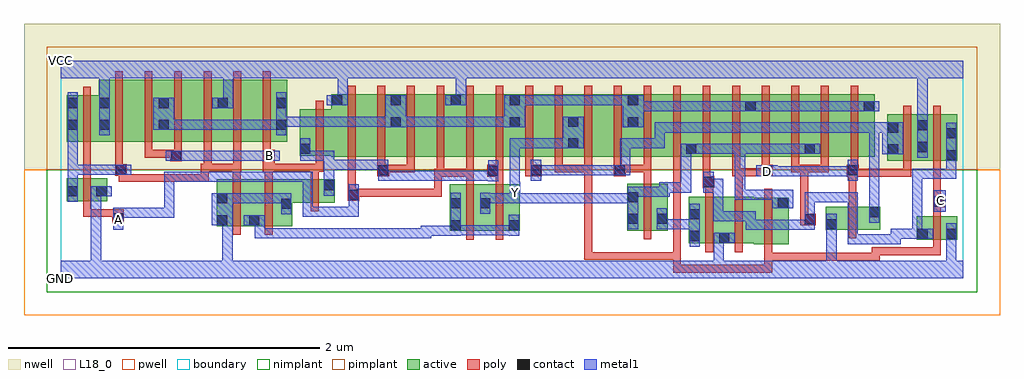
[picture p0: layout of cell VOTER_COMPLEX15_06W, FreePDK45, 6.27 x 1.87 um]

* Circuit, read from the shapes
.subckt VOTER_COMPLEX15_06W A B C D GND VCC Y
M1 GND A n1 VSUBS nfet w=0.15u l=0.05u
M2 n2 n1 GND VSUBS nfet w=0.3u l=0.05u
M3 GND B n2 VSUBS nfet w=0.3u l=0.05u
M4 n3 B GND VSUBS nfet w=0.15u l=0.05u
M5 Y A n2 VSUBS nfet w=0.3u l=0.05u
M6 n2 n3 Y VSUBS nfet w=0.3u l=0.05u
M7 n4 n5 Y VSUBS nfet w=0.3u l=0.05u
M8 GND n6 n4 VSUBS nfet w=0.3u l=0.05u
M9 n7 D GND VSUBS nfet w=0.3u l=0.05u
M10 Y C n7 VSUBS nfet w=0.3u l=0.05u
M11 n5 D GND VSUBS nfet w=0.15u l=0.05u
M12 GND C n6 VSUBS nfet w=0.15u l=0.05u
M13 VCC A n1 n8 pfet w=0.3u l=0.05u
M14 n9 n1 VCC n8 pfet w=0.4u l=0.05u
M15 n10 B n9 n8 pfet w=0.4u l=0.05u
M16 n11 B n10 n8 pfet w=0.4u l=0.05u
M17 VCC n1 n11 n8 pfet w=0.4u l=0.05u
M18 n12 n1 VCC n8 pfet w=0.4u l=0.05u
M19 n10 B n12 n8 pfet w=0.4u l=0.05u
M20 VCC B n3 n8 pfet w=0.3u l=0.05u
M21 n13 A VCC n8 pfet w=0.4u l=0.05u
M22 n10 n3 n13 n8 pfet w=0.4u l=0.05u
M23 n14 n3 n10 n8 pfet w=0.4u l=0.05u
M24 VCC A n14 n8 pfet w=0.4u l=0.05u
M25 n15 A VCC n8 pfet w=0.4u l=0.05u
M26 n10 n3 n15 n8 pfet w=0.4u l=0.05u
M27 n16 n5 n10 n8 pfet w=0.4u l=0.05u
M28 Y C n16 n8 pfet w=0.4u l=0.05u
M29 n17 C Y n8 pfet w=0.4u l=0.05u
M30 n10 n5 n17 n8 pfet w=0.4u l=0.05u
M31 n18 n5 n10 n8 pfet w=0.4u l=0.05u
M32 Y C n18 n8 pfet w=0.4u l=0.05u
M33 n19 n6 Y n8 pfet w=0.4u l=0.05u
M34 n10 D n19 n8 pfet w=0.4u l=0.05u
M35 n20 D n10 n8 pfet w=0.4u l=0.05u
M36 Y n6 n20 n8 pfet w=0.4u l=0.05u
M37 n21 n6 Y n8 pfet w=0.4u l=0.05u
M38 n10 D n21 n8 pfet w=0.4u l=0.05u
M39 VCC D n5 n8 pfet w=0.3u l=0.05u
M40 n6 C VCC n8 pfet w=0.3u l=0.05u
.ends

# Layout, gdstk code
import gdstk
lib = gdstk.Library(unit=1e-6, precision=1e-09)
def R(c, l, rs):  # rectangles x0, y0, x1, y1
    for r in rs: c.add(gdstk.rectangle(r[:2], r[2:], *l))
def A(c, l, x, y, w, h, nx, ny, dx, dy):  # array of equal rectangles
    R(c, l, [(x+i*dx, y+j*dy, x+i*dx+w, y+j*dy+h) for i in range(nx) for j in range(ny)])
active = (1, 0)
pwell = (2, 0)
nwell = (3, 0)
nimplant = (4, 0)
pimplant = (5, 0)
poly = (9, 0)
contact = (10, 0)
metal1 = (11, 0)
L18_0 = (18, 0)
boundary = (235, 0)

voter_complex15_06w = lib.new_cell('VOTER_COMPLEX15_06W')
A(voter_complex15_06w, active, 3.865, 0.782, 0.225, 0.4, 4, 1, 0.38, 0)
A(voter_complex15_06w, active, 4.015, 0.782, 0.23, 0.4, 3, 1, 0.38, 0)
A(voter_complex15_06w, active, 0.245, 0.877, 0.225, 0.4, 3, 1, 0.38, 0)
R(voter_complex15_06w, active, [(4.452,0.22,4.677,0.52), (4.037,0.225,4.3,0.525), (4.037,0.225,4.112,0.525), (4.225,0.225,4.452,0.525), (4.225,0.225,4.3,0.517), (5.5,0.25,5.575,0.4), (5.5,0.25,5.76,0.4), (5.685,0.25,5.76,0.4), (2.5,0.305,2.575,0.605), (2.5,0.305,2.765,0.605), (2.69,0.305,2.95,0.605), (2.875,0.305,2.95,0.605), (3.64,0.307,3.9,0.607), (3.825,0.307,3.9,0.607), (4.602,0.31,4.677,0.52), (4.915,0.312,4.99,0.462), (4.915,0.312,5.265,0.462), (1.002,0.337,1.077,0.637), (1.002,0.337,1.282,0.637), (1.207,0.337,1.487,0.637), (1.207,0.337,1.282,0.415), (2.69,0.345,2.765,0.52), (3.64,0.345,3.715,0.607), (5.19,0.387,5.265,0.462), (1.412,0.442,1.487,0.517), (1.412,0.487,1.762,0.637), (0.04,0.495,0.115,0.645), (0.04,0.495,0.3,0.645), (0.225,0.495,0.3,0.645), (1.687,0.495,1.762,0.637), (5.31,0.755,5.385,1.055), (5.31,0.755,5.575,1.055), (5.5,0.755,5.575,1.055), (5.5,0.755,5.76,1.055), (5.685,0.755,5.76,1.055), (1.74,0.782,1.965,1.182), (1.965,0.782,2.19,1.182), (2.115,0.782,2.345,1.182), (2.115,0.782,2.19,1.182), (2.345,0.782,2.575,1.182), (2.5,0.782,2.725,1.182), (2.5,0.782,2.575,1.182), (2.725,0.782,2.955,1.182), (2.88,0.782,3.105,1.182), (3.105,0.782,3.33,1.182), (3.255,0.782,3.485,1.182), (3.255,0.782,3.33,1.07), (3.485,0.782,3.715,1.182), (3.64,0.782,3.865,1.182), (3.64,0.782,3.715,1.182), (5.155,0.782,5.23,1.167), (1.535,0.787,1.815,1.087), (4.015,0.795,4.09,0.94), (4.775,0.795,4.85,0.94), (1.535,0.797,1.61,1.055), (1.74,0.85,1.815,1.182), (0.04,0.877,0.32,1.177), (0.04,0.877,0.115,1.165), (0.47,0.877,0.7,1.277), (0.625,0.877,0.7,1.2), (0.85,0.877,1.08,1.277), (1.23,0.877,1.455,1.277), (1.38,0.877,1.455,1.2), (0.245,0.907,0.32,1.165), (1.005,0.907,1.08,1.277), (2.88,0.907,2.955,1.182), (4.395,0.907,4.47,1.167)])
R(voter_complex15_06w, pwell, [(-0.235,-0.235,6.035,0.7)])
R(voter_complex15_06w, nwell, [(-0.235,0.7,6.035,1.635)])
R(voter_complex15_06w, nimplant, [(-0.09,-0.09,5.89,0.7)])
R(voter_complex15_06w, pimplant, [(-0.09,0.7,5.89,1.49)])
A(voter_complex15_06w, poly, 2.985, 0.682, 0.05, 0.095, 5, 1, 0.19, 0)
A(voter_complex15_06w, poly, 4.505, 0.682, 0.05, 0.095, 4, 1, 0.19, 0)
A(voter_complex15_06w, poly, 1.845, 0.727, 0.05, 0.51, 18, 1, 0.19, 0)
A(voter_complex15_06w, poly, 0.35, 0.822, 0.05, 0.51, 6, 1, 0.19, 0)
R(voter_complex15_06w, poly, [(3.935,0.037,3.985,0.087), (3.935,0.037,3.985,0.087), (3.935,0.037,4.232,0.087), (3.935,0.037,3.985,0.17), (4.182,0.037,4.232,0.087), (4.182,0.037,4.232,0.087), (4.182,0.037,4.232,0.087), (4.182,0.037,4.417,0.087), (4.367,0.037,4.417,0.087), (4.367,0.037,4.417,0.087), (4.367,0.037,4.417,0.087), (4.367,0.037,4.572,0.087), (4.522,0.037,4.572,0.165), (4.522,0.115,4.572,0.165), (4.522,0.115,4.572,0.165), (4.522,0.115,4.802,0.165), (4.522,0.115,4.572,0.215), (4.752,0.115,4.802,0.165), (4.752,0.115,4.802,0.165), (4.752,0.115,4.802,0.165), (4.752,0.115,4.935,0.165), (4.885,0.115,4.935,0.165), (4.885,0.115,4.982,0.165), (4.932,0.115,4.982,0.165), (4.932,0.115,4.982,0.165), (4.932,0.115,4.982,0.165), (4.932,0.115,5.115,0.165), (5.065,0.115,5.115,0.165), (5.065,0.115,5.115,0.165), (5.065,0.115,5.115,0.165), (5.065,0.115,5.262,0.165), (5.212,0.115,5.262,0.175), (3.365,0.12,3.415,0.17), (3.365,0.12,3.415,0.17), (3.365,0.12,3.415,0.17), (3.365,0.12,3.415,0.17), (3.365,0.12,3.415,0.17), (3.365,0.12,3.415,0.17), (3.365,0.12,3.415,0.17), (3.365,0.12,3.59,0.17), (3.365,0.12,3.415,0.732), (3.54,0.12,3.59,0.17), (3.54,0.12,3.59,0.17), (3.54,0.12,3.59,0.17), (3.54,0.12,3.59,0.17), (3.54,0.12,3.59,0.17), (3.54,0.12,3.852,0.17), (3.802,0.12,3.852,0.17), (3.802,0.12,3.852,0.17), (3.802,0.12,3.852,0.17), (3.802,0.12,3.985,0.17), (3.935,0.12,3.985,0.17), (3.935,0.12,3.985,0.17), (3.935,0.12,3.985,0.17), (3.935,0.12,3.985,0.17), (3.935,0.12,3.985,0.17), (3.935,0.12,3.985,0.17), (3.935,0.12,3.985,0.17), (3.935,0.12,3.985,0.17), (3.935,0.12,3.985,0.777), (5.212,0.125,5.262,0.175), (5.212,0.125,5.262,0.2), (5.212,0.15,5.655,0.2), (5.605,0.15,5.655,0.245), (5.605,0.15,5.655,0.2), (5.605,0.15,5.655,0.2), (5.605,0.15,5.655,0.2), (4.522,0.165,4.572,0.575), (4.142,0.17,4.192,0.58), (4.332,0.17,4.382,0.58), (5.605,0.195,5.655,0.455), (2.605,0.25,2.655,0.66), (2.795,0.25,2.845,0.66), (3.745,0.252,3.795,0.662), (5.062,0.257,5.112,0.517), (1.107,0.282,1.157,0.692), (1.312,0.282,1.362,0.692), (4.752,0.342,4.85,0.417), (0.332,0.35,0.407,0.445), (4.752,0.367,4.802,0.417), (4.752,0.367,4.802,0.417), (4.752,0.367,4.802,0.732), (0.145,0.395,0.195,0.49), (0.145,0.395,0.195,0.445), (0.145,0.395,0.382,0.445), (0.332,0.395,0.382,0.445), (0.332,0.395,0.382,0.445), (5.605,0.405,5.655,0.507), (1.607,0.432,1.657,0.692), (0.145,0.44,0.195,0.7), (5.605,0.457,5.68,0.532), (5.062,0.467,5.112,0.705), (5.605,0.482,5.655,0.75), (1.845,0.5,1.92,0.575), (1.845,0.525,1.895,0.575), (1.845,0.525,1.895,0.575), (1.845,0.525,1.895,0.575), (1.845,0.525,1.895,0.575), (1.845,0.525,1.895,0.777), (1.87,0.525,2.11,0.575), (2.06,0.525,2.11,0.575), (2.06,0.525,2.11,0.575), (2.06,0.525,2.11,0.575), (2.06,0.525,2.242,0.575), (2.192,0.525,2.242,0.575), (2.192,0.525,2.242,0.575), (2.192,0.525,2.242,0.575), (2.192,0.525,2.45,0.575), (2.4,0.525,2.45,0.575), (2.4,0.525,2.45,0.575), (2.4,0.525,2.45,0.575), (2.4,0.525,2.45,0.575), (2.4,0.525,2.45,0.575), (2.4,0.525,2.45,0.705), (4.142,0.53,4.192,0.632), (4.332,0.53,4.382,0.707), (4.125,0.582,4.2,0.657), (4.125,0.607,4.175,0.777), (2.605,0.61,2.655,0.705), (2.795,0.61,2.845,0.705), (3.745,0.612,3.795,0.732), (0.375,0.62,0.425,0.67), (0.375,0.62,0.557,0.67), (0.375,0.62,0.425,0.71), (0.507,0.62,0.557,0.67), (0.507,0.62,0.557,0.67), (0.507,0.62,0.557,0.67), (0.507,0.62,0.82,0.67), (0.77,0.62,0.82,0.67), (0.77,0.62,0.82,0.67), (0.77,0.62,0.82,0.67), (0.77,0.62,0.952,0.67), (0.902,0.62,0.952,0.67), (0.902,0.62,0.952,0.67), (0.902,0.62,0.952,0.67), (0.902,0.62,0.952,0.67), (0.902,0.62,0.952,0.67), (0.902,0.62,0.952,0.737), (1.107,0.642,1.157,0.737), (1.312,0.642,1.362,0.737), (1.607,0.642,1.657,0.737), (0.145,0.65,0.195,0.745), (2.4,0.655,2.465,0.705), (2.415,0.655,2.655,0.705), (2.415,0.655,2.465,0.777), (2.605,0.655,2.655,0.705), (2.605,0.655,2.655,0.705), (2.605,0.655,2.655,0.705), (2.605,0.655,2.655,0.777), (2.742,0.655,2.845,0.73), (5.052,0.655,5.127,0.732), (5.077,0.655,5.127,0.705), (5.077,0.655,5.127,0.705), (5.077,0.655,5.465,0.705), (5.415,0.655,5.465,0.75), (5.415,0.655,5.465,0.705), (5.415,0.655,5.465,0.705), (5.415,0.655,5.465,0.705), (2.035,0.657,2.11,0.732), (2.985,0.657,3.092,0.732), (3.555,0.657,3.63,0.732), (4.315,0.657,4.365,0.777), (4.315,0.657,4.382,0.707), (4.332,0.657,4.382,0.707), (4.332,0.657,4.382,0.707), (4.332,0.657,4.55,0.707), (4.5,0.657,4.575,0.732), (0.35,0.66,0.425,0.735), (0.375,0.66,0.425,0.71), (0.375,0.66,0.425,0.71), (2.795,0.68,2.845,0.777), (2.035,0.682,2.085,0.777), (2.06,0.682,2.275,0.732), (2.225,0.682,2.275,0.777), (2.225,0.682,2.275,0.732), (2.225,0.682,2.275,0.732), (2.225,0.682,2.275,0.732), (3.175,0.682,3.225,0.732), (3.175,0.682,3.225,0.732), (3.175,0.682,3.225,0.732), (3.175,0.682,3.415,0.732), (3.365,0.682,3.415,0.732), (3.58,0.682,3.63,0.732), (3.58,0.682,3.63,0.732), (3.58,0.682,3.795,0.732), (3.745,0.682,3.795,0.732), (4.695,0.682,4.802,0.732), (4.752,0.682,4.802,0.732), (4.752,0.682,4.802,0.732), (4.752,0.682,4.935,0.732), (4.885,0.682,4.935,0.732), (0.35,0.685,0.4,0.872), (0.902,0.687,0.97,0.737), (0.92,0.687,0.97,0.872), (0.92,0.687,1.157,0.737), (1.107,0.687,1.157,0.737), (1.107,0.687,1.157,0.737), (1.107,0.687,1.16,0.737), (1.11,0.687,1.16,0.872), (1.3,0.687,1.377,0.827), (1.327,0.687,1.377,0.737), (1.327,0.687,1.377,0.737), (1.327,0.687,1.657,0.737), (1.607,0.687,1.657,0.737), (1.607,0.687,1.657,0.737), (1.607,0.687,1.69,0.737), (1.64,0.687,1.69,0.782), (0.145,0.695,0.195,0.745), (0.145,0.695,0.195,0.872), (5.415,0.7,5.465,1.11), (5.605,0.7,5.655,1.11), (1.64,0.732,1.69,1.142), (0.705,0.752,0.78,0.827), (0.54,0.777,0.59,0.872), (0.54,0.777,0.59,0.827), (0.54,0.777,0.755,0.827), (0.705,0.777,0.755,0.827), (0.705,0.777,0.755,0.827), (0.73,0.777,0.78,0.872), (1.3,0.777,1.35,0.872), (0.145,0.822,0.195,1.232)])
A(voter_complex15_06w, contact, 0.25, 1.095, 0.065, 0.065, 3, 1, 0.38, 0)
R(voter_complex15_06w, contact, [(4.23,0.23,4.295,0.295), (4.042,0.24,4.107,0.305), (5.505,0.255,5.57,0.32), (5.69,0.255,5.755,0.32), (2.505,0.31,2.57,0.375), (2.88,0.31,2.945,0.375), (4.92,0.317,4.985,0.382), (1.007,0.342,1.072,0.407), (1.212,0.342,1.277,0.407), (4.78,0.347,4.845,0.412), (3.645,0.35,3.71,0.415), (3.83,0.352,3.895,0.417), (0.337,0.355,0.402,0.42), (4.042,0.38,4.107,0.445), (5.195,0.392,5.26,0.457), (1.417,0.447,1.482,0.512), (2.505,0.45,2.57,0.515), (2.695,0.45,2.76,0.515), (4.607,0.45,4.672,0.515), (5.61,0.462,5.675,0.527), (1.007,0.482,1.072,0.547), (3.645,0.49,3.71,0.555), (1.85,0.505,1.915,0.57), (0.045,0.527,0.11,0.592), (0.23,0.527,0.295,0.592), (1.692,0.567,1.757,0.632), (4.13,0.587,4.195,0.652), (2.747,0.66,2.812,0.725), (2.04,0.662,2.105,0.727), (3.022,0.662,3.087,0.727), (3.56,0.662,3.625,0.727), (4.505,0.662,4.57,0.727), (5.057,0.662,5.122,0.727), (0.355,0.665,0.42,0.73), (0.71,0.757,0.775,0.822), (1.307,0.757,1.372,0.822), (5.69,0.76,5.755,0.825), (5.315,0.797,5.38,0.862), (4.02,0.8,4.085,0.865), (4.78,0.8,4.845,0.865), (1.54,0.802,1.605,0.867), (5.505,0.812,5.57,0.877), (3.26,0.835,3.325,0.9), (5.69,0.9,5.755,0.965), (5.315,0.937,5.38,1.002), (5.505,0.952,5.57,1.017), (0.045,0.955,0.11,1.02), (0.25,0.955,0.315,1.02), (0.63,0.955,0.695,1.02), (1.385,0.955,1.45,1.02), (2.12,0.972,2.185,1.037), (2.885,0.972,2.95,1.037), (3.645,0.972,3.71,1.037), (3.26,0.975,3.325,1.04), (4.4,1.075,4.465,1.14), (5.16,1.075,5.225,1.14), (0.045,1.095,0.11,1.16), (1.385,1.095,1.45,1.16), (1.745,1.112,1.81,1.177), (2.12,1.112,2.185,1.177), (2.505,1.112,2.57,1.177), (2.885,1.112,2.95,1.177), (3.645,1.112,3.71,1.177)])
R(voter_complex15_06w, metal1, [(0,0,5.8,0.115), (0.195,0.05,0.26,0.115), (0.195,0.05,0.26,0.115), (0.195,0.05,0.26,0.115), (0.195,0.05,0.26,0.115), (0.195,0.05,0.26,0.115), (0.195,0.05,0.26,0.115), (0.195,0.05,0.26,0.592), (1.04,0.05,1.105,0.115), (1.04,0.05,1.105,0.115), (1.04,0.05,1.105,0.115), (1.04,0.05,1.105,0.115), (1.04,0.05,1.105,0.407), (4.195,0.05,4.26,0.115), (4.195,0.05,4.26,0.115), (4.195,0.05,4.26,0.295), (4.92,0.05,4.985,0.115), (4.92,0.05,4.985,0.115), (4.92,0.05,4.985,0.115), (4.92,0.05,4.985,0.115), (4.92,0.05,4.985,0.115), (4.92,0.05,4.985,0.115), (4.92,0.05,4.985,0.347), (5.69,0.05,5.755,0.285), (4.042,0.205,4.107,0.48), (5.057,0.22,5.122,0.285), (5.057,0.22,5.397,0.285), (5.057,0.22,5.122,0.555), (5.332,0.22,5.397,0.285), (5.332,0.22,5.397,0.285), (5.332,0.22,5.397,0.285), (5.332,0.22,5.397,0.285), (5.332,0.22,5.397,0.32), (5.69,0.22,5.755,0.285), (5.69,0.22,5.755,0.285), (5.69,0.22,5.755,0.285), (5.69,0.22,5.755,0.285), (5.69,0.22,5.755,0.285), (5.69,0.22,5.755,0.285), (5.69,0.22,5.755,0.355), (4.195,0.23,4.26,0.295), (4.195,0.23,4.26,0.295), (4.195,0.23,4.33,0.295), (5.332,0.255,5.535,0.32), (5.47,0.255,5.535,0.32), (5.47,0.255,5.535,0.32), (5.47,0.255,5.605,0.32), (5.472,0.255,5.537,0.32), (5.472,0.255,5.537,0.32), (5.472,0.255,5.537,0.705), (1.247,0.257,1.312,0.407), (1.247,0.257,1.45,0.322), (1.385,0.257,1.45,0.322), (1.385,0.257,1.45,0.322), (1.385,0.257,1.45,0.322), (1.385,0.257,1.777,0.322), (1.712,0.257,1.777,0.322), (1.712,0.257,1.777,0.322), (1.712,0.257,1.777,0.322), (1.712,0.257,1.967,0.322), (1.902,0.257,1.967,0.322), (1.902,0.257,1.967,0.322), (1.902,0.257,1.967,0.322), (1.902,0.257,2.105,0.322), (2.04,0.257,2.105,0.322), (2.04,0.257,2.242,0.322), (2.177,0.257,2.242,0.322), (2.177,0.257,2.242,0.322), (2.177,0.257,2.242,0.322), (2.177,0.257,2.38,0.322), (2.315,0.257,2.38,0.322), (2.315,0.257,2.38,0.322), (2.315,0.257,2.38,0.34), (2.315,0.275,2.57,0.34), (2.505,0.275,2.57,0.55), (2.88,0.275,2.945,0.41), (2.505,0.277,2.57,0.342), (2.505,0.277,2.57,0.342), (2.505,0.277,2.777,0.342), (2.712,0.277,2.777,0.342), (2.712,0.277,2.945,0.342), (2.88,0.277,2.945,0.342), (2.88,0.277,2.945,0.342), (4.92,0.282,4.985,0.417), (0.337,0.312,0.402,0.455), (4.402,0.312,4.637,0.377), (4.402,0.312,4.467,0.432), (4.572,0.312,4.637,0.377), (4.572,0.312,4.637,0.377), (4.572,0.312,4.637,0.377), (4.572,0.312,4.845,0.377), (4.78,0.312,4.845,0.447), (3.645,0.315,3.71,0.59), (3.83,0.317,3.895,0.452), (3.83,0.317,4.057,0.382), (3.992,0.317,4.057,0.382), (3.992,0.317,4.107,0.382), (0.972,0.342,1.107,0.547), (1.177,0.342,1.312,0.407), (1.247,0.342,1.312,0.407), (5.195,0.357,5.26,0.492), (4.192,0.367,4.397,0.432), (4.192,0.367,4.257,0.64), (4.332,0.367,4.397,0.432), (4.332,0.367,4.467,0.432), (4.78,0.382,4.845,0.447), (4.78,0.382,4.845,0.447), (4.78,0.382,4.845,0.555), (0.337,0.39,0.522,0.455), (0.457,0.39,0.522,0.455), (0.457,0.39,0.522,0.455), (0.457,0.39,0.522,0.455), (0.457,0.39,0.54,0.455), (0.475,0.39,0.54,0.455), (0.475,0.39,0.73,0.455), (0.665,0.39,0.73,0.455), (0.665,0.39,0.73,0.685), (1.555,0.395,1.62,0.46), (1.555,0.395,1.757,0.46), (1.555,0.395,1.62,0.685), (1.692,0.395,1.757,0.46), (1.692,0.395,1.757,0.46), (1.692,0.395,1.757,0.46), (1.692,0.395,1.915,0.46), (1.85,0.395,1.915,0.605), (1.417,0.412,1.482,0.547), (2.695,0.415,2.76,0.55), (5.195,0.427,5.26,1.002), (5.61,0.427,5.685,0.567), (4.572,0.45,4.707,0.57), (1.04,0.482,1.105,0.547), (1.04,0.482,1.105,0.547), (1.04,0.482,1.105,0.547), (1.04,0.482,1.105,0.547), (1.04,0.482,1.312,0.547), (1.247,0.482,1.312,0.547), (1.247,0.482,1.312,0.547), (1.247,0.482,1.312,0.547), (1.247,0.482,1.482,0.547), (2.695,0.482,2.95,0.547), (2.885,0.482,2.95,0.547), (2.885,0.482,2.95,0.547), (2.885,0.482,2.95,0.547), (2.885,0.482,2.95,0.547), (2.885,0.482,3.122,0.547), (2.885,0.482,2.952,0.617), (3.057,0.482,3.122,0.547), (3.057,0.482,3.122,0.547), (3.057,0.482,3.122,0.547), (3.057,0.482,3.315,0.547), (3.25,0.482,3.315,0.547), (3.25,0.482,3.315,0.547), (3.25,0.482,3.315,0.547), (3.25,0.482,3.452,0.547), (3.387,0.482,3.452,0.547), (3.387,0.482,3.452,0.547), (3.387,0.482,3.452,0.547), (3.387,0.482,3.602,0.547), (3.537,0.482,3.602,0.547), (3.537,0.482,3.71,0.547), (4.78,0.49,4.845,0.555), (4.78,0.49,4.982,0.555), (4.917,0.49,4.982,0.555), (4.917,0.49,4.982,0.555), (4.917,0.49,4.982,0.555), (4.917,0.49,5.122,0.555), (5.057,0.49,5.122,0.555), (0.045,0.492,0.11,0.627), (4.332,0.505,4.397,0.57), (4.332,0.505,4.637,0.57), (4.332,0.505,4.397,0.865), (4.572,0.505,4.637,0.57), (4.572,0.505,4.637,0.57), (3.645,0.525,3.912,0.59), (3.847,0.525,3.912,0.59), (3.847,0.525,3.912,0.59), (3.847,0.525,3.912,0.617), (0.195,0.527,0.33,0.592), (1.692,0.532,1.757,0.667), (2.885,0.552,2.95,0.9), (3.847,0.552,4.05,0.617), (3.985,0.552,4.05,0.617), (3.985,0.552,4.05,0.617), (3.985,0.552,4.05,0.617), (3.985,0.552,4.05,0.865), (4.13,0.552,4.195,0.687), (0.045,0.562,0.11,0.73), (4.13,0.575,4.257,0.64), (4.192,0.575,4.257,0.64), (4.192,0.575,4.257,0.64), (4.192,0.575,4.257,0.64), (4.192,0.575,4.257,0.64), (1.692,0.602,1.757,0.762), (0.665,0.62,0.73,0.685), (0.665,0.62,0.73,0.685), (0.665,0.62,0.73,0.685), (0.665,0.62,0.867,0.685), (0.802,0.62,0.867,0.685), (0.802,0.62,0.947,0.685), (0.882,0.62,0.947,0.685), (0.882,0.62,1.105,0.685), (1.04,0.62,1.105,0.685), (1.04,0.62,1.105,0.685), (1.04,0.62,1.105,0.685), (1.04,0.62,1.245,0.685), (1.18,0.62,1.245,0.685), (1.18,0.62,1.245,0.685), (1.18,0.62,1.245,0.685), (1.18,0.62,1.62,0.685), (1.555,0.62,1.62,0.685), (1.555,0.62,1.62,0.685), (1.555,0.62,1.62,0.685), (2.747,0.625,2.812,0.76), (2.04,0.627,2.105,0.762), (2.04,0.627,2.242,0.692), (2.177,0.627,2.242,0.692), (2.177,0.627,2.242,0.692), (2.177,0.627,2.242,0.692), (2.177,0.627,2.397,0.692), (2.332,0.627,2.397,0.692), (2.332,0.627,2.43,0.692), (2.365,0.627,2.43,0.692), (2.365,0.627,2.622,0.692), (2.557,0.627,2.622,0.692), (2.557,0.627,2.622,0.692), (2.557,0.627,2.622,0.692), (2.557,0.627,2.76,0.692), (2.695,0.627,2.76,0.692), (2.695,0.627,2.812,0.692), (3.022,0.627,3.087,0.762), (5.057,0.627,5.122,0.762), (5.472,0.64,5.537,0.705), (5.472,0.64,5.755,0.705), (5.69,0.64,5.755,0.79), (4.47,0.657,4.607,0.727), (4.542,0.657,4.637,0.722), (4.572,0.657,4.637,0.722), (4.572,0.657,4.807,0.722), (4.742,0.657,4.807,0.722), (4.742,0.657,4.807,0.722), (4.742,0.657,4.807,0.722), (4.742,0.657,4.982,0.722), (4.917,0.657,4.982,0.722), (4.917,0.657,4.982,0.722), (4.917,0.657,4.982,0.722), (4.917,0.657,5.122,0.722), (3.022,0.662,3.122,0.727), (3.057,0.662,3.122,0.727), (3.057,0.662,3.315,0.727), (3.25,0.662,3.315,0.727), (3.25,0.662,3.315,0.727), (3.25,0.662,3.315,0.727), (3.25,0.662,3.452,0.727), (3.387,0.662,3.452,0.727), (3.387,0.662,3.452,0.727), (3.387,0.662,3.452,0.727), (3.387,0.662,3.59,0.727), (3.525,0.662,3.66,0.727), (3.595,0.662,3.66,0.727), (3.595,0.662,3.66,0.727), (3.595,0.662,3.66,0.727), (3.595,0.662,3.66,0.727), (3.595,0.662,3.66,0.9), (0.045,0.665,0.11,0.73), (0.045,0.665,0.11,0.73), (0.045,0.665,0.11,0.73), (0.045,0.665,0.385,0.73), (0.045,0.665,0.11,0.985), (0.32,0.665,0.385,0.73), (0.32,0.665,0.385,0.73), (0.32,0.665,0.455,0.73), (1.692,0.697,1.757,0.762), (1.692,0.697,1.757,0.762), (1.692,0.697,1.967,0.762), (1.692,0.697,1.757,0.822), (1.902,0.697,1.967,0.762), (1.902,0.697,1.967,0.762), (1.902,0.697,1.967,0.762), (1.902,0.697,2.105,0.762), (5.69,0.725,5.755,0.79), (5.69,0.725,5.755,1), (0.675,0.757,0.81,0.822), (0.745,0.757,0.9,0.822), (0.835,0.757,0.9,0.822), (0.835,0.757,0.967,0.822), (0.902,0.757,0.967,0.822), (0.902,0.757,1.105,0.822), (1.04,0.757,1.105,0.822), (1.04,0.757,1.105,0.822), (1.04,0.757,1.105,0.822), (1.04,0.757,1.312,0.822), (1.247,0.757,1.312,0.822), (1.247,0.757,1.337,0.822), (1.272,0.757,1.407,0.822), (1.54,0.757,1.605,0.822), (1.54,0.757,1.757,0.822), (1.54,0.757,1.605,0.832), (1.54,0.767,1.605,0.902), (5.505,0.777,5.57,1.052), (5.28,0.797,5.415,1.002), (3.985,0.8,4.05,0.865), (3.985,0.8,4.05,0.865), (3.985,0.8,4.12,0.865), (4.055,0.8,4.257,0.865), (4.192,0.8,4.257,0.865), (4.192,0.8,4.257,0.865), (4.192,0.8,4.257,0.865), (4.192,0.8,4.397,0.865), (4.332,0.8,4.397,0.865), (4.332,0.8,4.397,0.865), (4.332,0.8,4.397,0.865), (4.332,0.8,4.397,0.865), (4.332,0.8,4.397,0.865), (4.332,0.8,4.637,0.865), (4.572,0.8,4.637,0.865), (4.572,0.8,4.637,0.865), (4.572,0.8,4.637,0.865), (4.572,0.8,4.81,0.865), (4.745,0.8,4.81,0.865), (4.745,0.8,4.81,0.865), (4.745,0.8,4.88,0.865), (2.885,0.835,2.95,0.9), (2.885,0.835,3.122,0.9), (3.057,0.835,3.122,0.9), (3.057,0.835,3.122,0.9), (3.057,0.835,3.122,0.9), (3.057,0.835,3.29,0.9), (3.225,0.835,3.29,0.9), (3.225,0.835,3.29,0.9), (3.225,0.835,3.36,1.04), (3.595,0.835,3.66,0.9), (3.595,0.835,3.882,0.9), (3.817,0.835,3.882,0.9), (3.817,0.835,3.882,0.9), (3.817,0.835,3.882,1.002), (0.045,0.92,0.11,1.195), (0.25,0.92,0.315,1.195), (1.385,0.92,1.45,1.195), (3.817,0.937,4.05,1.002), (3.985,0.937,4.05,1.002), (3.985,0.937,4.05,1.002), (3.985,0.937,4.05,1.002), (3.985,0.937,4.257,1.002), (4.192,0.937,4.257,1.002), (4.192,0.937,4.257,1.002), (4.192,0.937,4.257,1.002), (4.192,0.937,4.397,1.002), (4.332,0.937,4.397,1.002), (4.332,0.937,4.397,1.002), (4.332,0.937,4.397,1.002), (4.332,0.937,4.637,1.002), (4.572,0.937,4.637,1.002), (4.572,0.937,4.637,1.002), (4.572,0.937,4.637,1.002), (4.572,0.937,4.775,1.002), (4.71,0.937,4.775,1.002), (4.71,0.937,4.775,1.002), (4.71,0.937,4.775,1.002), (4.71,0.937,4.982,1.002), (4.917,0.937,4.982,1.002), (4.917,0.937,4.982,1.002), (4.917,0.937,4.982,1.002), (4.917,0.937,5.12,1.002), (5.055,0.937,5.12,1.002), (5.055,0.937,5.26,1.002), (5.195,0.937,5.26,1.002), (5.195,0.937,5.26,1.002), (5.195,0.937,5.26,1.002), (5.195,0.937,5.26,1.002), (5.195,0.937,5.26,1.002), (5.195,0.937,5.345,1.002), (0.595,0.955,0.73,1.16), (0.665,0.955,0.73,1.02), (0.665,0.955,0.73,1.02), (0.665,0.955,0.867,1.02), (0.802,0.955,0.867,1.02), (0.802,0.955,0.967,1.02), (0.902,0.955,0.967,1.02), (0.902,0.955,1.105,1.02), (1.04,0.955,1.105,1.02), (1.04,0.955,1.105,1.02), (1.04,0.955,1.105,1.02), (1.04,0.955,1.312,1.02), (1.247,0.955,1.312,1.02), (1.247,0.955,1.312,1.02), (1.247,0.955,1.312,1.02), (1.247,0.955,1.45,1.02), (2.085,0.972,2.22,1.177), (2.85,0.972,2.985,1.177), (3.61,0.972,3.745,1.177), (1.385,0.975,1.45,1.04), (1.385,0.975,1.45,1.04), (1.385,0.975,1.777,1.04), (1.712,0.975,1.777,1.04), (1.712,0.975,1.777,1.04), (1.712,0.975,1.777,1.04), (1.712,0.975,1.967,1.04), (1.902,0.975,1.967,1.04), (1.902,0.975,1.967,1.04), (1.902,0.975,1.967,1.04), (1.902,0.975,2.105,1.04), (2.04,0.975,2.105,1.04), (2.04,0.975,2.15,1.04), (2.155,0.975,2.242,1.04), (2.177,0.975,2.242,1.04), (2.177,0.975,2.38,1.04), (2.315,0.975,2.38,1.04), (2.315,0.975,2.43,1.04), (2.365,0.975,2.43,1.04), (2.365,0.975,2.622,1.04), (2.557,0.975,2.622,1.04), (2.557,0.975,2.622,1.04), (2.557,0.975,2.622,1.04), (2.557,0.975,2.777,1.04), (2.712,0.975,2.777,1.04), (2.712,0.975,2.915,1.04), (2.85,0.975,2.915,1.04), (2.85,0.975,2.915,1.04), (5.505,0.987,5.57,1.052), (5.505,0.987,5.57,1.052), (5.505,0.987,5.57,1.35), (3.68,1.075,3.912,1.14), (3.847,1.075,3.912,1.14), (3.847,1.075,3.912,1.14), (3.847,1.075,3.912,1.14), (3.847,1.075,4.057,1.14), (3.992,1.075,4.057,1.14), (3.992,1.075,4.057,1.14), (3.992,1.075,4.057,1.14), (3.992,1.075,4.257,1.14), (4.192,1.075,4.257,1.14), (4.192,1.075,4.257,1.14), (4.192,1.075,4.257,1.14), (4.192,1.075,4.397,1.14), (4.332,1.075,4.397,1.14), (4.332,1.075,4.43,1.14), (4.365,1.075,4.5,1.14), (4.435,1.075,4.637,1.14), (4.572,1.075,4.637,1.14), (4.572,1.075,4.637,1.14), (4.572,1.075,4.637,1.14), (4.572,1.075,4.775,1.14), (4.71,1.075,4.775,1.14), (4.71,1.075,4.775,1.14), (4.71,1.075,4.775,1.14), (4.71,1.075,4.982,1.14), (4.917,1.075,4.982,1.14), (4.917,1.075,4.982,1.14), (4.917,1.075,4.982,1.14), (4.917,1.075,5.19,1.14), (5.125,1.075,5.19,1.14), (5.125,1.075,5.19,1.14), (5.125,1.075,5.26,1.14), (0.975,1.095,1.11,1.16), (1.045,1.095,1.11,1.35), (1.71,1.112,1.845,1.177), (1.78,1.112,1.845,1.35), (2.47,1.112,2.605,1.177), (2.54,1.112,2.605,1.35), (2.92,1.112,3.122,1.177), (3.057,1.112,3.122,1.177), (3.057,1.112,3.122,1.177), (3.057,1.112,3.122,1.177), (3.057,1.112,3.315,1.177), (3.25,1.112,3.315,1.177), (3.25,1.112,3.315,1.177), (3.25,1.112,3.315,1.177), (3.25,1.112,3.452,1.177), (3.387,1.112,3.452,1.177), (3.387,1.112,3.452,1.177), (3.387,1.112,3.452,1.177), (3.387,1.112,3.675,1.177), (3.61,1.112,3.675,1.177), (3.61,1.112,3.675,1.177), (0.25,1.13,0.315,1.35), (0,1.285,5.8,1.4)])
R(voter_complex15_06w, L18_0, [(0,0,5.8,0.115), (0.195,0.05,0.26,0.115), (0.195,0.05,0.26,0.115), (0.195,0.05,0.26,0.115), (0.195,0.05,0.26,0.115), (0.195,0.05,0.26,0.115), (0.195,0.05,0.26,0.115), (0.195,0.05,0.26,0.592), (1.04,0.05,1.105,0.115), (1.04,0.05,1.105,0.115), (1.04,0.05,1.105,0.115), (1.04,0.05,1.105,0.115), (1.04,0.05,1.105,0.407), (4.195,0.05,4.26,0.115), (4.195,0.05,4.26,0.115), (4.195,0.05,4.26,0.295), (4.92,0.05,4.985,0.115), (4.92,0.05,4.985,0.115), (4.92,0.05,4.985,0.115), (4.92,0.05,4.985,0.115), (4.92,0.05,4.985,0.115), (4.92,0.05,4.985,0.115), (4.92,0.05,4.985,0.347), (5.69,0.05,5.755,0.285), (5.69,0.22,5.755,0.285), (5.69,0.22,5.755,0.285), (5.69,0.22,5.755,0.285), (5.69,0.22,5.755,0.285), (5.69,0.22,5.755,0.285), (5.69,0.22,5.755,0.285), (5.69,0.22,5.755,0.355), (4.195,0.23,4.26,0.295), (4.195,0.23,4.26,0.295), (4.195,0.23,4.33,0.295), (4.92,0.282,4.985,0.417), (0.337,0.312,0.402,0.455), (3.645,0.315,3.71,0.59), (0.972,0.342,1.107,0.547), (0.337,0.347,0.402,0.412), (0.337,0.39,0.522,0.455), (0.457,0.39,0.522,0.455), (0.457,0.39,0.522,0.455), (0.457,0.39,0.522,0.455), (0.457,0.39,0.54,0.455), (0.475,0.39,0.54,0.455), (0.475,0.39,0.73,0.455), (0.665,0.39,0.73,0.455), (0.665,0.39,0.73,0.685), (1.555,0.395,1.62,0.46), (1.555,0.395,1.757,0.46), (1.555,0.395,1.62,0.685), (1.692,0.395,1.757,0.46), (1.692,0.395,1.757,0.46), (1.692,0.395,1.757,0.46), (1.692,0.395,1.915,0.46), (1.85,0.395,1.915,0.605), (1.417,0.412,1.482,0.547), (2.695,0.415,2.76,0.55), (5.61,0.427,5.685,0.567), (4.572,0.45,4.707,0.57), (5.617,0.467,5.682,0.532), (1.04,0.482,1.105,0.547), (1.04,0.482,1.105,0.547), (1.04,0.482,1.105,0.547), (1.04,0.482,1.105,0.547), (1.04,0.482,1.312,0.547), (1.247,0.482,1.312,0.547), (1.247,0.482,1.312,0.547), (1.247,0.482,1.312,0.547), (1.247,0.482,1.482,0.547), (2.695,0.482,2.95,0.547), (2.885,0.482,2.95,0.547), (2.885,0.482,2.95,0.547), (2.885,0.482,2.95,0.547), (2.885,0.482,2.95,0.547), (2.885,0.482,2.952,0.617), (2.885,0.482,3.122,0.547), (3.057,0.482,3.122,0.547), (3.057,0.482,3.122,0.547), (3.057,0.482,3.122,0.547), (3.057,0.482,3.315,0.547), (3.25,0.482,3.315,0.547), (3.25,0.482,3.315,0.547), (3.25,0.482,3.315,0.547), (3.25,0.482,3.452,0.547), (3.387,0.482,3.452,0.547), (3.387,0.482,3.452,0.547), (3.387,0.482,3.452,0.547), (3.387,0.482,3.602,0.547), (3.537,0.482,3.602,0.547), (3.537,0.482,3.71,0.547), (4.332,0.505,4.397,0.57), (4.332,0.505,4.397,0.865), (4.332,0.505,4.637,0.57), (4.572,0.505,4.637,0.57), (4.572,0.505,4.637,0.57), (2.887,0.517,2.952,0.582), (3.645,0.525,3.912,0.59), (3.847,0.525,3.912,0.59), (3.847,0.525,3.912,0.59), (3.847,0.525,3.912,0.617), (0.195,0.527,0.33,0.592), (2.885,0.552,2.95,0.9), (3.847,0.552,4.05,0.617), (3.985,0.552,4.05,0.617), (3.985,0.552,4.05,0.617), (3.985,0.552,4.05,0.617), (3.985,0.552,4.05,0.865), (0.665,0.62,0.73,0.685), (0.665,0.62,0.73,0.685), (0.665,0.62,0.73,0.685), (0.665,0.62,0.867,0.685), (0.802,0.62,0.867,0.685), (0.802,0.62,0.947,0.685), (0.882,0.62,0.947,0.685), (0.882,0.62,1.105,0.685), (1.04,0.62,1.105,0.685), (1.04,0.62,1.105,0.685), (1.04,0.62,1.105,0.685), (1.04,0.62,1.245,0.685), (1.18,0.62,1.245,0.685), (1.18,0.62,1.245,0.685), (1.18,0.62,1.245,0.685), (1.18,0.62,1.62,0.685), (1.555,0.62,1.62,0.685), (1.555,0.62,1.62,0.685), (1.555,0.62,1.62,0.685), (5.057,0.627,5.122,0.762), (4.47,0.657,4.607,0.727), (4.507,0.657,4.572,0.722), (4.542,0.657,4.637,0.722), (4.572,0.657,4.637,0.722), (4.572,0.657,4.807,0.722), (4.742,0.657,4.807,0.722), (4.742,0.657,4.807,0.722), (4.742,0.657,4.807,0.722), (4.742,0.657,4.982,0.722), (4.917,0.657,4.982,0.722), (4.917,0.657,4.982,0.722), (4.917,0.657,4.982,0.722), (4.917,0.657,5.122,0.722), (0.675,0.757,0.81,0.822), (0.745,0.757,0.9,0.822), (0.835,0.757,0.9,0.822), (0.835,0.757,0.967,0.822), (0.902,0.757,0.967,0.822), (0.902,0.757,1.105,0.822), (1.04,0.757,1.105,0.822), (1.04,0.757,1.105,0.822), (1.04,0.757,1.105,0.822), (1.04,0.757,1.312,0.822), (1.247,0.757,1.312,0.822), (1.247,0.757,1.337,0.822), (1.272,0.757,1.407,0.822), (1.307,0.757,1.372,0.822), (5.505,0.777,5.57,1.052), (3.985,0.8,4.05,0.865), (3.985,0.8,4.05,0.865), (3.985,0.8,4.12,0.865), (4.055,0.8,4.257,0.865), (4.192,0.8,4.257,0.865), (4.192,0.8,4.257,0.865), (4.192,0.8,4.257,0.865), (4.192,0.8,4.397,0.865), (4.332,0.8,4.397,0.865), (4.332,0.8,4.397,0.865), (4.332,0.8,4.397,0.865), (4.332,0.8,4.397,0.865), (4.332,0.8,4.397,0.865), (4.332,0.8,4.637,0.865), (4.572,0.8,4.637,0.865), (4.572,0.8,4.637,0.865), (4.572,0.8,4.637,0.865), (4.572,0.8,4.81,0.865), (4.745,0.8,4.81,0.865), (4.745,0.8,4.81,0.865), (4.745,0.8,4.88,0.865), (2.885,0.835,2.95,0.9), (2.885,0.835,3.122,0.9), (3.057,0.835,3.122,0.9), (3.057,0.835,3.122,0.9), (3.057,0.835,3.122,0.9), (3.057,0.835,3.29,0.9), (3.225,0.835,3.29,0.9), (3.225,0.835,3.29,0.9), (3.225,0.835,3.36,1.04), (0.25,0.92,0.315,1.195), (5.505,0.987,5.57,1.052), (5.505,0.987,5.57,1.052), (5.505,0.987,5.57,1.35), (0.975,1.095,1.11,1.16), (1.045,1.095,1.11,1.35), (1.71,1.112,1.845,1.177), (1.78,1.112,1.845,1.35), (2.47,1.112,2.605,1.177), (2.54,1.112,2.605,1.35), (0.25,1.13,0.315,1.35), (0,1.285,5.8,1.4)])
R(voter_complex15_06w, boundary, [(0,0,5.8,1.4)])
voter_complex15_06w.add(gdstk.Label('A', (0.37,0.38), layer=11, texttype=0))
voter_complex15_06w.add(gdstk.Label('B', (1.34,0.79), layer=11, texttype=0))
voter_complex15_06w.add(gdstk.Label('C', (5.65,0.5), layer=11, texttype=0))
voter_complex15_06w.add(gdstk.Label('D', (4.54,0.69), layer=11, texttype=0))
voter_complex15_06w.add(gdstk.Label('Y', (2.92,0.55), layer=11, texttype=0))
voter_complex15_06w.add(gdstk.Label('VCC', (0,1.4), layer=11, texttype=0))
voter_complex15_06w.add(gdstk.Label('GND', (0,0), layer=11, texttype=0))

lib.write_gds('VOTER_COMPLEX15_06W.gds')
